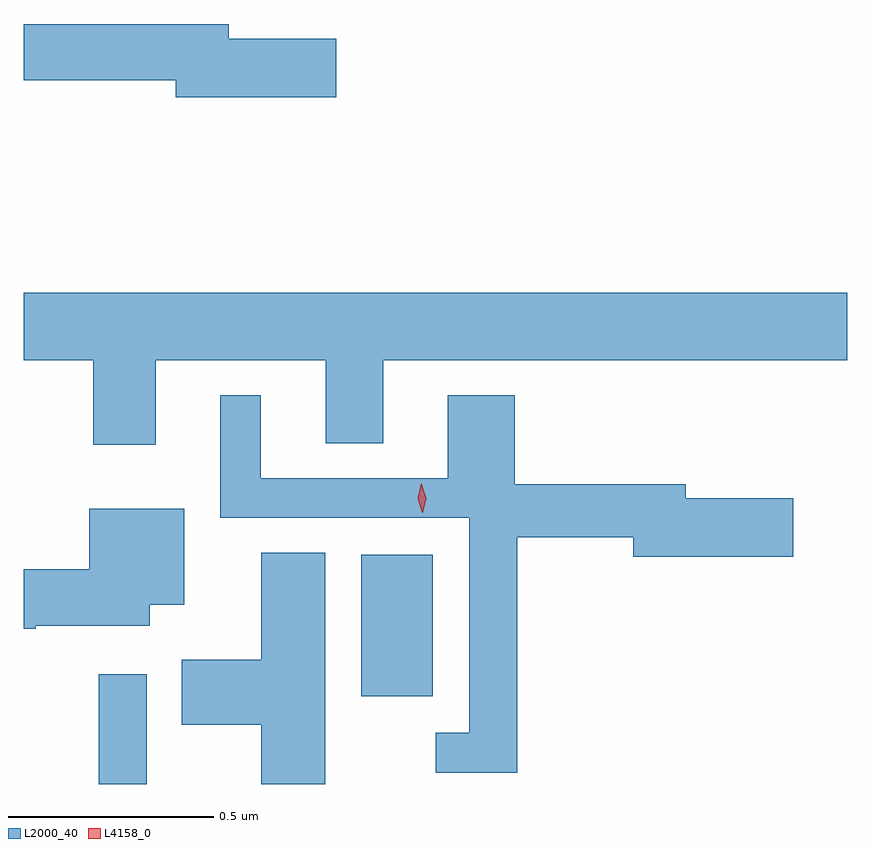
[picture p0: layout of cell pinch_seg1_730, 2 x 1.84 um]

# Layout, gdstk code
import gdstk
lib = gdstk.Library(unit=1e-6, precision=1e-09)
def R(c, l, rs):  # rectangles x0, y0, x1, y1
    for r in rs: c.add(gdstk.rectangle(r[:2], r[2:], *l))
def P(c, l, *ps):  # polygons
    for p in ps: c.add(gdstk.Polygon(p, *l))
L2000_40 = (2000, 40)
L4158_0 = (4158, 0)

pinch_seg1_730 = lib.new_cell('pinch_seg1_730')
R(pinch_seg1_730, L2000_40, [(744.577,509.411,744.693,509.677), (745.214,509.624,745.387,509.968)])
P(pinch_seg1_730, L2000_40, [(745.153,511.22),(744.892,511.22),(744.892,511.256),(744.394,511.256),(744.394,511.12),(744.764,511.12),(744.764,511.078),(745.153,511.078)],
  [(744.715,510.44),(745.127,510.44),(745.127,510.238),(745.267,510.238),(745.267,510.44),(746.394,510.44),(746.394,510.604),(744.394,510.604),(744.394,510.44),(744.563,510.44),(744.563,510.234),(744.715,510.234)],
  [(745.592,510.01),(745.874,510.01),(745.874,509.963),(746.263,509.963),(746.263,510.105),(746.002,510.105),(746.002,510.139),(745.586,510.139),(745.586,510.355),(745.424,510.355),(745.424,510.153),(744.97,510.153),(744.97,510.355),(744.872,510.355),(744.872,510.057),(745.476,510.057),(745.476,509.535),(745.395,509.535),(745.395,509.438),(745.592,509.438)],
  [(744.424,509.795),(744.7,509.795),(744.7,509.846),(744.784,509.846),(744.784,510.079),(744.554,510.079),(744.554,509.932),(744.394,509.932),(744.394,509.788),(744.424,509.788)],
  [(745.126,509.972),(744.971,509.972),(744.971,509.713),(744.778,509.713),(744.778,509.555),(744.971,509.555),(744.971,509.411),(745.126,509.411)])
P(pinch_seg1_730, L4158_0, [(745.362,510.069),(745.351,510.105),(745.36,510.141),(745.36,510.141),(745.36,510.141),(745.371,510.105),(745.363,510.069),(745.363,510.069)])

lib.write_gds('pinch_seg1_730.gds')
